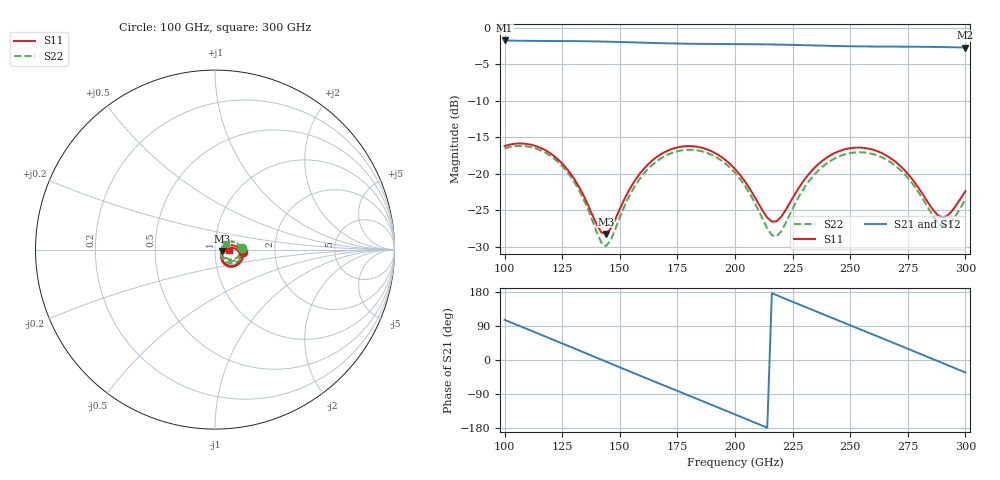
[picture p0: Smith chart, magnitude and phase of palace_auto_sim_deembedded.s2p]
! Created with skrf 1.11.0 (http://scikit-rf.org).
# GHz S DB R 50.0
!freq dBS11 angS11 dBS21 angS21 dBS12 angS12 dBS22 angS22
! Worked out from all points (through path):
!   101 points, 100 GHz to 300 GHz, reference 50 ohm
!   highest |S21| = -1.76 dB at 100 GHz (marker M1); lowest = -2.7 dB at 300 GHz (marker M2)
!   group delay of S21, straight-line fit = 6.93 ps
!   lowest |S11| = -28.2 dB at 144 GHz (marker M3), VSWR 1.08, Z = 53.9 - j1.13 ohm
!   |S11| at or under -10 dB: start of sweep to end of sweep
!   |S22| runs from -29.9 to -16.2 dB; largest |S21 - S12| = 8.9e-14
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100  -16.20 -4.2  -1.76 105.9  -1.76 105.9  -16.54 3.1
108  -15.86 -19.6  -1.80 86.1  -1.80 86.1  -16.19 -11.8
116  -16.50 -34.8  -1.83 66.2  -1.83 66.2  -16.84 -26.7
126  -18.92 -51.2  -1.84 41.2  -1.84 41.2  -19.29 -43.2
134  -22.78 -56.7  -1.87 21.0  -1.87 21.0  -23.28 -49.7
140  -26.96 -42.9  -1.89 5.9  -1.89 5.9  -27.99 -37.1
144  -28.23 -15.7  -1.92 -4.2  -1.92 -4.2  -29.89 -6.3
156  -21.18 16.3  -2.02 -34.4  -2.02 -34.4  -21.96 31.5
168  -17.29 0.9  -2.13 -64.2  -2.13 -64.2  -17.86 15.9
176  -16.32 -13.2  -2.19 -84.0  -2.19 -84.0  -16.84 1.9
184  -16.32 -27.7  -2.22 -103.8  -2.22 -103.8  -16.81 -12.6
200  -19.33 -52.1  -2.26 -143.5  -2.26 -143.5  -19.85 -37.9
210  -23.96 -51.5  -2.28 -168.6  -2.28 -168.6  -24.86 -39.6
218  -26.50 -17.8  -2.32 171.3  -2.32 171.3  -28.56 -1.6
234  -19.34 4.1  -2.44 131.2  -2.44 131.2  -20.27 26.9
242  -17.36 -6.6  -2.50 111.4  -2.50 111.4  -18.12 16.0
250  -16.49 -19.8  -2.55 91.6  -2.55 91.6  -17.16 2.7
258  -16.55 -33.4  -2.58 71.9  -2.58 71.9  -17.16 -11.0
268  -17.95 -48.9  -2.60 47.1  -2.60 47.1  -18.51 -26.8
280  -22.08 -57.1  -2.63 17.2  -2.63 17.2  -22.67 -36.3
290  -25.95 -29.6  -2.67 -7.9  -2.67 -7.9  -27.18 -9.3
300  -22.37 0.1  -2.73 -32.9  -2.73 -32.9  -23.53 25.3
